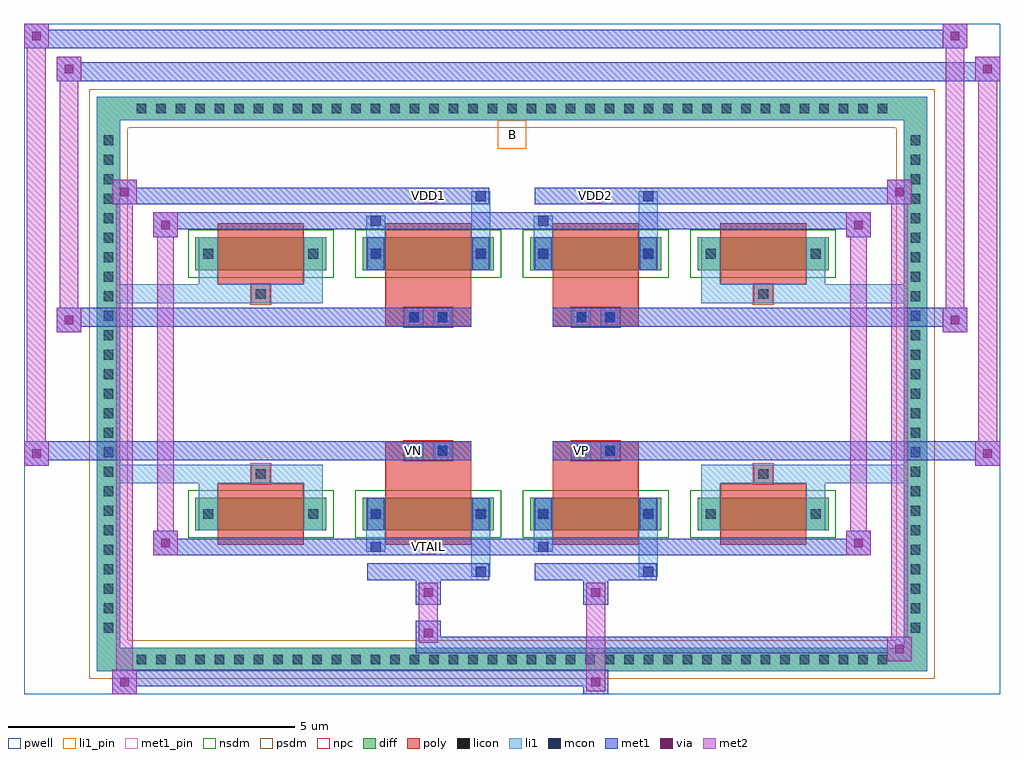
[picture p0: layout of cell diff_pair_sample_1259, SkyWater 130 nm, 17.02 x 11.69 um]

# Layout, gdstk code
import gdstk
lib = gdstk.Library(unit=1e-6, precision=5e-09)
def R(c, l, rs):  # rectangles x0, y0, x1, y1
    for r in rs: c.add(gdstk.rectangle(r[:2], r[2:], *l))
def A(c, l, x, y, w, h, nx, ny, dx, dy):  # array of equal rectangles
    R(c, l, [(x+i*dx, y+j*dy, x+i*dx+w, y+j*dy+h) for i in range(nx) for j in range(ny)])
def P(c, l, *ps):  # polygons
    for p in ps: c.add(gdstk.Polygon(p, *l))
pwell = (64, 44)
diff = (65, 20)
poly = (66, 20)
licon = (66, 44)
li1_pin = (67, 16)
li1 = (67, 20)
mcon = (67, 44)
met1_pin = (68, 16)
met1 = (68, 20)
via = (68, 44)
met2 = (69, 20)
nsdm = (93, 44)
psdm = (94, 20)
npc = (95, 20)

diff_pair_sample_1259 = lib.new_cell('diff_pair_sample_1259')
R(diff_pair_sample_1259, pwell, [(-8.51,-5.41,8.51,6.28), (-5.83,-3.6,-0.01,-0.8), (0.01,-3.6,5.83,-0.8), (-5.83,0.8,-0.01,3.6), (0.01,0.8,5.83,3.6)])
A(diff_pair_sample_1259, diff, -6.665, -5.01, 0.41, 0.41, 39, 2, 0.34, 9.61)
A(diff_pair_sample_1259, diff, -7.24, -4.455, 0.41, 0.41, 1, 26, 0, 0.34)
A(diff_pair_sample_1259, diff, 6.83, -4.455, 0.41, 0.41, 1, 26, 0, 0.34)
A(diff_pair_sample_1259, diff, -5.52, -2.555, 2.28, 0.57, 4, 2, 2.92, 4.54)
R(diff_pair_sample_1259, diff, [(-6.665,-5.01,6.665,-4.6), (-7.24,-4.455,-6.83,4.455), (6.83,-4.455,7.24,4.455), (-6.665,4.6,6.665,5.01)])
P(diff_pair_sample_1259, diff, [(7.24,5.01),(-7.24,5.01),(-7.24,-4.6),(-6.83,-4.6),(-6.83,4.6),(6.83,4.6),(6.83,-4.6),(-6.83,-4.6),(-7.24,-4.6),(-7.24,-5.01),(7.24,-5.01)])
A(diff_pair_sample_1259, poly, -5.13, -2.805, 1.5, 1.07, 4, 2, 2.92, 4.54)
R(diff_pair_sample_1259, poly, [(-4.545,-1.735,-4.215,-1.405), (-4.545,-1.735,-4.215,-1.405), (-2.21,-1.735,-0.71,-1.33), (0.71,-1.735,2.21,-1.33), (4.215,-1.735,4.545,-1.405), (4.215,-1.735,4.545,-1.405), (-2.21,-1.33,-0.71,-1), (-1.875,-1.33,-1.545,-1), (-1.375,-1.33,-1.045,-1), (0.71,-1.33,2.21,-1), (1.045,-1.33,1.375,-1), (1.545,-1.33,1.875,-1), (-2.21,1,-0.71,1.33), (-1.875,1,-1.545,1.33), (-1.375,1,-1.045,1.33), (0.71,1,2.21,1.33), (1.045,1,1.375,1.33), (1.545,1,1.875,1.33), (-2.21,1.33,-0.71,1.735), (0.71,1.33,2.21,1.735), (-4.545,1.405,-4.215,1.735), (-4.545,1.405,-4.215,1.735), (4.215,1.405,4.545,1.735), (4.215,1.405,4.545,1.735)])
A(diff_pair_sample_1259, licon, -6.545, -4.89, 0.17, 0.17, 39, 2, 0.34, 9.61)
A(diff_pair_sample_1259, licon, -7.12, -4.335, 0.17, 0.17, 1, 26, 0, 0.34)
A(diff_pair_sample_1259, licon, 6.95, -4.335, 0.17, 0.17, 1, 26, 0, 0.34)
R(diff_pair_sample_1259, licon, [(-5.38,-2.355,-5.21,-2.185), (-3.55,-2.355,-3.38,-2.185), (-2.46,-2.355,-2.29,-2.185), (-0.63,-2.355,-0.46,-2.185), (0.46,-2.355,0.63,-2.185), (2.29,-2.355,2.46,-2.185), (3.38,-2.355,3.55,-2.185), (5.21,-2.355,5.38,-2.185), (-4.465,-1.655,-4.295,-1.485), (4.295,-1.655,4.465,-1.485), (-1.795,-1.25,-1.625,-1.08), (-1.295,-1.25,-1.125,-1.08), (1.125,-1.25,1.295,-1.08), (1.625,-1.25,1.795,-1.08), (-1.795,1.08,-1.625,1.25), (-1.295,1.08,-1.125,1.25), (1.125,1.08,1.295,1.25), (1.625,1.08,1.795,1.25), (-4.465,1.485,-4.295,1.655), (4.295,1.485,4.465,1.655), (-5.38,2.185,-5.21,2.355), (-3.55,2.185,-3.38,2.355), (-2.46,2.185,-2.29,2.355), (-0.63,2.185,-0.46,2.355), (0.46,2.185,0.63,2.355), (2.29,2.185,2.46,2.355), (3.38,2.185,3.55,2.355), (5.21,2.185,5.38,2.355)])
R(diff_pair_sample_1259, li1_pin, [(-0.25,4.1,0.25,4.6)])
A(diff_pair_sample_1259, li1, -6.625, -4.97, 0.33, 0.33, 39, 2, 0.34, 9.61)
A(diff_pair_sample_1259, li1, -7.2, -4.415, 0.33, 0.33, 1, 26, 0, 0.34)
A(diff_pair_sample_1259, li1, 6.87, -4.415, 0.33, 0.33, 1, 26, 0, 0.34)
R(diff_pair_sample_1259, li1, [(-7.24,-5.01,-6.83,-4.6), (-7.24,-5.01,-6.83,-4.6), (-6.83,-5.01,6.83,-4.6), (6.83,-5.01,7.24,-4.6), (6.83,-5.01,7.24,-4.6), (-7.24,-4.6,-6.83,4.6), (6.83,-4.6,7.24,4.6), (-0.71,-3.36,-0.38,-2.555), (-0.63,-3.36,-0.46,-3.19), (2.21,-3.36,2.54,-2.555), (2.29,-3.36,2.46,-3.19), (-2.54,-2.93,-2.21,-2.555), (-2.46,-2.93,-2.29,-2.76), (0.38,-2.93,0.71,-2.555), (0.46,-2.93,0.63,-2.76), (-5.46,-2.555,-5.13,-1.985), (-3.63,-2.555,-3.3,-1.985), (-2.54,-2.555,-2.21,-1.985), (-0.71,-2.555,-0.38,-1.985), (0.38,-2.555,0.71,-1.985), (2.21,-2.555,2.54,-1.985), (3.3,-2.555,3.63,-1.985), (5.13,-2.555,5.46,-1.985), (-5.46,-2.435,-5.13,-2.105), (-3.63,-2.435,-3.3,-2.105), (-2.54,-2.435,-2.21,-2.105), (-0.71,-2.435,-0.38,-2.105), (0.38,-2.435,0.71,-2.105), (2.21,-2.435,2.54,-2.105), (3.3,-2.435,3.63,-2.105), (5.13,-2.435,5.46,-2.105), (-2.46,-2.355,-2.29,-2.185), (-2.46,-2.355,-2.29,-2.185), (-0.63,-2.355,-0.46,-2.185), (-0.63,-2.355,-0.46,-2.185), (0.46,-2.355,0.63,-2.185), (0.46,-2.355,0.63,-2.185), (2.29,-2.355,2.46,-2.185), (2.29,-2.355,2.46,-2.185), (-5.46,-1.985,-5.13,-1.405), (-3.63,-1.985,-3.3,-1.405), (3.3,-1.985,3.63,-1.405), (5.13,-1.985,5.46,-1.405), (-7.24,-1.735,-4.545,-1.405), (-5.46,-1.735,-4.545,-1.405), (-4.545,-1.735,-4.215,-1.405), (-4.215,-1.735,-3.3,-1.405), (3.3,-1.735,4.215,-1.405), (4.215,-1.735,4.545,-1.405), (4.215,-1.735,7.24,-1.405), (4.545,-1.735,5.46,-1.405), (-1.875,-1.33,-1.545,-1), (-1.375,-1.33,-1.045,-1), (1.045,-1.33,1.375,-1), (1.545,-1.33,1.875,-1), (-1.875,1,-1.545,1.33), (-1.375,1,-1.045,1.33), (1.045,1,1.375,1.33), (1.545,1,1.875,1.33), (-7.24,1.405,-4.545,1.735), (-5.46,1.405,-4.545,1.735), (-5.46,1.405,-5.13,1.985), (-4.545,1.405,-4.215,1.735), (-4.215,1.405,-3.3,1.735), (-3.63,1.405,-3.3,1.985), (3.3,1.405,4.215,1.735), (3.3,1.405,3.63,1.985), (4.215,1.405,4.545,1.735), (4.215,1.405,7.24,1.735), (4.545,1.405,5.46,1.735), (5.13,1.405,5.46,1.985), (-5.46,1.985,-5.13,2.555), (-3.63,1.985,-3.3,2.555), (-2.54,1.985,-2.21,2.555), (-0.71,1.985,-0.38,2.555), (0.38,1.985,0.71,2.555), (2.21,1.985,2.54,2.555), (3.3,1.985,3.63,2.555), (5.13,1.985,5.46,2.555), (-5.46,2.105,-5.13,2.435), (-3.63,2.105,-3.3,2.435), (-2.54,2.105,-2.21,2.435), (-0.71,2.105,-0.38,2.435), (0.38,2.105,0.71,2.435), (2.21,2.105,2.54,2.435), (3.3,2.105,3.63,2.435), (5.13,2.105,5.46,2.435), (-2.46,2.185,-2.29,2.355), (-2.46,2.185,-2.29,2.355), (-0.63,2.185,-0.46,2.355), (-0.63,2.185,-0.46,2.355), (0.46,2.185,0.63,2.355), (0.46,2.185,0.63,2.355), (2.29,2.185,2.46,2.355), (2.29,2.185,2.46,2.355), (-2.54,2.555,-2.21,2.93), (-0.71,2.555,-0.38,3.36), (0.38,2.555,0.71,2.93), (2.21,2.555,2.54,3.36), (-2.46,2.76,-2.29,2.93), (0.46,2.76,0.63,2.93), (-0.63,3.19,-0.46,3.36), (2.29,3.19,2.46,3.36), (-7.24,4.6,-6.83,5.01), (-7.24,4.6,-6.83,5.01), (-6.83,4.6,6.83,5.01), (6.83,4.6,7.24,5.01), (6.83,4.6,7.24,5.01)])
R(diff_pair_sample_1259, mcon, [(-0.63,-3.36,-0.46,-3.19), (2.29,-3.36,2.46,-3.19), (-2.46,-2.93,-2.29,-2.76), (0.46,-2.93,0.63,-2.76), (-2.46,-2.355,-2.29,-2.185), (-0.63,-2.355,-0.46,-2.185), (0.46,-2.355,0.63,-2.185), (2.29,-2.355,2.46,-2.185), (-1.795,-1.25,-1.625,-1.08), (-1.295,-1.25,-1.125,-1.08), (1.125,-1.25,1.295,-1.08), (1.625,-1.25,1.795,-1.08), (-1.795,1.08,-1.625,1.25), (-1.295,1.08,-1.125,1.25), (1.125,1.08,1.295,1.25), (1.625,1.08,1.795,1.25), (-2.46,2.185,-2.29,2.355), (-0.63,2.185,-0.46,2.355), (0.46,2.185,0.63,2.355), (2.29,2.185,2.46,2.355), (-2.46,2.76,-2.29,2.93), (0.46,2.76,0.63,2.93), (-0.63,3.19,-0.46,3.36), (2.29,3.19,2.46,3.36)])
R(diff_pair_sample_1259, met1_pin, [(-1.595,-2.97,-1.325,-2.7), (-1.845,-1.29,-1.575,-1.02), (1.075,-1.29,1.345,-1.02), (-1.595,3.15,-1.325,3.42), (1.325,3.15,1.595,3.42)])
R(diff_pair_sample_1259, met1, [(-6.97,-5.41,-6.54,-4.98), (1.245,-5.41,1.675,-4.98), (-6.97,-5.27,1.675,-4.98), (6.54,-4.84,6.97,-4.41), (-1.675,-4.7,6.97,-4.41), (-1.675,-4.56,-1.245,-4.13), (-1.675,-3.85,-1.245,-3.42), (1.245,-3.85,1.675,-3.42), (-2.52,-3.42,-0.4,-3.13), (-0.69,-3.42,-0.4,-3.13), (0.4,-3.42,2.52,-3.13), (2.23,-3.42,2.52,-3.13), (-6.26,-2.99,-5.83,-2.56), (-6.26,-2.99,-2.52,-2.7), (-2.52,-2.99,-2.23,-2.7), (-2.52,-2.99,-0.4,-2.7), (-0.4,-2.99,0.4,-2.7), (0.4,-2.99,0.69,-2.7), (0.4,-2.99,2.52,-2.7), (2.52,-2.99,6.26,-2.7), (5.83,-2.99,6.26,-2.56), (-2.52,-2.555,-2.23,-1.985), (-0.69,-2.555,-0.4,-1.985), (0.4,-2.555,0.69,-1.985), (2.23,-2.555,2.52,-1.985), (-2.52,-2.415,-2.23,-2.125), (-0.69,-2.415,-0.4,-2.125), (0.4,-2.415,0.69,-2.125), (2.23,-2.415,2.52,-2.125), (-8.51,-1.43,-8.08,-1), (8.08,-1.43,8.51,-1), (-8.51,-1.33,-0.71,-1), (-2.21,-1.33,-0.71,-1), (0.71,-1.33,2.21,-1), (0.71,-1.33,8.51,-1), (-1.855,-1.31,-1.565,-1.02), (-1.355,-1.31,-1.065,-1.02), (1.065,-1.31,1.355,-1.02), (1.565,-1.31,1.855,-1.02), (-7.94,0.9,-7.51,1.33), (7.51,0.9,7.94,1.33), (-7.94,1,-2.21,1.33), (-2.21,1,-0.71,1.33), (0.71,1,2.21,1.33), (2.21,1,7.94,1.33), (-1.855,1.02,-1.565,1.31), (-1.355,1.02,-1.065,1.31), (1.065,1.02,1.355,1.31), (1.565,1.02,1.855,1.31), (-2.52,1.985,-2.23,2.555), (-0.69,1.985,-0.4,2.555), (0.4,1.985,0.69,2.555), (2.23,1.985,2.52,2.555), (-2.52,2.125,-2.23,2.415), (-0.69,2.125,-0.4,2.415), (0.4,2.125,0.69,2.415), (2.23,2.125,2.52,2.415), (-6.26,2.56,-5.83,2.99), (5.83,2.56,6.26,2.99), (-6.26,2.7,-2.52,2.99), (-2.52,2.7,-2.23,2.99), (-2.52,2.7,-0.4,2.99), (-0.4,2.7,0.4,2.99), (0.4,2.7,0.69,2.99), (0.4,2.7,2.52,2.99), (2.52,2.7,6.26,2.99), (-6.97,3.13,-6.54,3.56), (-6.97,3.13,-2.52,3.42), (-2.52,3.13,-0.4,3.42), (-0.69,3.13,-0.4,3.42), (0.4,3.13,2.52,3.42), (2.23,3.13,2.52,3.42), (2.52,3.13,6.97,3.42), (6.54,3.13,6.97,3.56), (-7.94,5.28,-7.51,5.71), (-7.94,5.28,-5.83,5.61), (-5.83,5.28,5.83,5.61), (5.83,5.28,8.51,5.61), (8.08,5.28,8.51,5.71), (-8.51,5.85,-8.08,6.28), (-8.51,5.85,-5.83,6.18), (-5.83,5.85,5.83,6.18), (5.83,5.85,7.94,6.18), (7.51,5.85,7.94,6.28)])
R(diff_pair_sample_1259, via, [(-6.83,-5.27,-6.68,-5.12), (1.385,-5.27,1.535,-5.12), (6.68,-4.7,6.83,-4.55), (-1.535,-4.42,-1.385,-4.27), (-1.535,-3.71,-1.385,-3.56), (1.385,-3.71,1.535,-3.56), (-6.12,-2.85,-5.97,-2.7), (5.97,-2.85,6.12,-2.7), (-8.37,-1.29,-8.22,-1.14), (8.22,-1.29,8.37,-1.14), (-7.8,1.04,-7.65,1.19), (7.65,1.04,7.8,1.19), (-6.12,2.7,-5.97,2.85), (5.97,2.7,6.12,2.85), (-6.83,3.27,-6.68,3.42), (6.68,3.27,6.83,3.42), (-7.8,5.42,-7.65,5.57), (8.22,5.42,8.37,5.57), (-8.37,5.99,-8.22,6.14), (7.65,5.99,7.8,6.14)])
R(diff_pair_sample_1259, met2, [(-6.97,-5.41,-6.54,-4.98), (-6.9,-5.41,-6.61,3.56), (-6.61,-5.41,-6.54,-4.98), (-6.92,-5.36,-6.59,-5.03), (1.295,-5.36,1.625,-5.03), (1.295,-5.03,1.625,-3.8), (6.54,-4.84,6.97,-4.41), (6.61,-4.84,6.9,3.56), (6.9,-4.84,6.97,-4.41), (6.59,-4.79,6.92,-4.46), (-1.625,-4.51,-1.295,-4.18), (-1.625,-4.18,-1.295,-3.8), (-1.625,-3.8,-1.295,-3.47), (1.295,-3.8,1.625,-3.47), (-6.26,-2.99,-5.83,-2.56), (-6.19,-2.99,-5.9,2.99), (-5.9,-2.99,-5.83,-2.56), (5.83,-2.99,6.26,-2.56), (5.9,-2.99,6.19,2.99), (6.19,-2.99,6.26,-2.56), (-6.21,-2.94,-5.88,-2.61), (5.88,-2.94,6.21,-2.61), (-8.51,-1.43,-8.08,-1), (-8.46,-1.43,-8.13,6.28), (-8.13,-1.43,-8.08,-1), (8.08,-1.43,8.51,-1), (8.13,-1.43,8.46,5.71), (8.46,-1.43,8.51,-1), (-8.46,-1.38,-8.13,-1.05), (8.13,-1.38,8.46,-1.05), (-7.94,0.9,-7.51,1.33), (-7.89,0.9,-7.56,5.71), (-7.56,0.9,-7.51,1.33), (7.51,0.9,7.94,1.33), (7.56,0.9,7.89,6.28), (7.89,0.9,7.94,1.33), (-7.89,0.95,-7.56,1.28), (7.56,0.95,7.89,1.28), (-6.26,2.56,-5.83,2.99), (-5.9,2.56,-5.83,2.99), (5.83,2.56,6.26,2.99), (6.19,2.56,6.26,2.99), (-6.21,2.61,-5.88,2.94), (5.88,2.61,6.21,2.94), (-6.97,3.13,-6.54,3.56), (-6.61,3.13,-6.54,3.56), (6.54,3.13,6.97,3.56), (6.9,3.13,6.97,3.56), (-6.92,3.18,-6.59,3.51), (6.59,3.18,6.92,3.51), (-7.94,5.28,-7.51,5.71), (-7.56,5.28,-7.51,5.71), (8.08,5.28,8.51,5.71), (8.46,5.28,8.51,5.71), (-7.89,5.33,-7.56,5.66), (8.13,5.33,8.46,5.66), (-8.51,5.85,-8.08,6.28), (-8.13,5.85,-8.08,6.28), (7.51,5.85,7.94,6.28), (7.89,5.85,7.94,6.28), (-8.46,5.9,-8.13,6.23), (7.56,5.9,7.89,6.23)])
A(diff_pair_sample_1259, nsdm, -5.65, -2.685, 2.54, 0.83, 4, 2, 2.92, 4.54)
P(diff_pair_sample_1259, psdm, [(7.37,5.14),(-7.37,5.14),(-7.37,-4.47),(-6.7,-4.47),(-6.7,4.47),(6.7,4.47),(6.7,-4.47),(-6.7,-4.47),(-7.37,-4.47),(-7.37,-5.14),(7.37,-5.14)])
R(diff_pair_sample_1259, npc, [(-4.565,-1.755,-4.195,-1.385), (4.195,-1.755,4.565,-1.385), (-1.895,-1.35,-1.525,-0.98), (-1.895,-1.35,-1.025,-0.98), (-1.895,-1.35,-1.025,-0.98), (-1.395,-1.35,-1.025,-0.98), (1.025,-1.35,1.395,-0.98), (1.025,-1.35,1.895,-0.98), (1.025,-1.35,1.895,-0.98), (1.525,-1.35,1.895,-0.98), (-1.895,0.98,-1.525,1.35), (-1.895,0.98,-1.025,1.35), (-1.895,0.98,-1.025,1.35), (-1.395,0.98,-1.025,1.35), (1.025,0.98,1.395,1.35), (1.025,0.98,1.895,1.35), (1.025,0.98,1.895,1.35), (1.525,0.98,1.895,1.35), (-4.565,1.385,-4.195,1.755), (4.195,1.385,4.565,1.755)])
diff_pair_sample_1259.add(gdstk.Label('VTAIL', (-1.46,-2.835), layer=68, texttype=5))
diff_pair_sample_1259.add(gdstk.Label('VN', (-1.71,-1.155), layer=68, texttype=5))
diff_pair_sample_1259.add(gdstk.Label('VP', (1.21,-1.155), layer=68, texttype=5))
diff_pair_sample_1259.add(gdstk.Label('B', (0,4.35), layer=67, texttype=5))
diff_pair_sample_1259.add(gdstk.Label('VDD2', (1.46,3.285), layer=68, texttype=5))
diff_pair_sample_1259.add(gdstk.Label('VDD1', (-1.46,3.285), layer=68, texttype=5))

lib.write_gds('diff_pair_sample_1259.gds')
